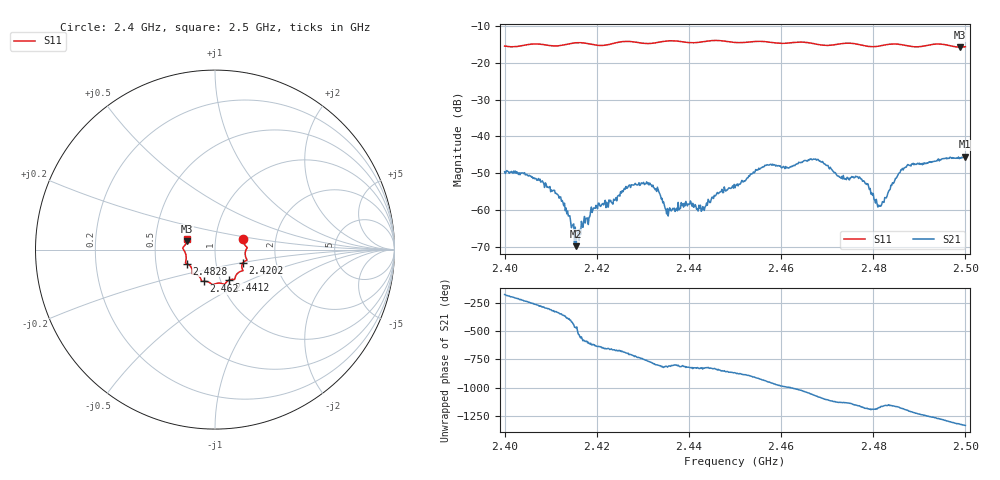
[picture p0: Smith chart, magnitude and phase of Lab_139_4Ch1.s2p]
# Hz S RI R
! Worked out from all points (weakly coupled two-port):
!   601 points, 2.4 GHz to 2.5 GHz, reference 50 ohm
!   highest |S21| = -45.55 dB at 2.4998 GHz (marker M1); lowest = -69.9 dB at 2.4155 GHz (marker M2)
!   lowest |S11| = -15.8 dB at 2.4988 GHz (marker M3), VSWR 1.39, Z = 36.4 + j3.41 ohm
!   |S11| at or under -10 dB: start of sweep to end of sweep
!   S12 and S22 are empty: the file has one direction only
!   S11 on the Smith chart (normalised r, x): 2.4 GHz: 1.36, +0.17; 2.4202 GHz: 1.35, -0.20; 2.4412 GHz: 1.09, -0.39; 2.462 GHz: 0.83, -0.30; 2.4828 GHz: 0.72, -0.12; 2.5 GHz: 0.73, +0.09
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2.4e9  0.1572 0.0607  -0.00329 -9.27e-05  0 0  0 0
2.411167e9  0.1682 -0.02  0.00143 0.00089  0 0  0 0
2.4155e9  0.1782 -0.057  -0.000128 -0.000294  0 0  0 0
2.416667e9  0.1775 -0.0593  -0.000683 0.000143  0 0  0 0
2.420167e9  0.1568 -0.072  0.000141 0.00103  0 0  0 0
2.428e9  0.1514 -0.1183  0.00217 3.83e-05  0 0  0 0
2.433333e9  0.1129 -0.152  0.000246 -0.00187  0 0  0 0
2.435333e9  0.1106 -0.1644  -0.000169 -0.00103  0 0  0 0
2.441167e9  0.0756 -0.1714  -0.000277 -0.00106  0 0  0 0
2.443167e9  0.0606 -0.1841  -0.000311 -0.00103  0 0  0 0
2.45e9  0.0272 -0.1867  -0.00171 -0.00103  0 0  0 0
2.456833e9  -0.0182 -0.1919  -0.00294 0.00281  0 0  0 0
2.462e9  -0.0613 -0.1761  0.000552 0.00383  0 0  0 0
2.466667e9  -0.0774 -0.1673  0.00447 0.00177  0 0  0 0
2.477e9  -0.1259 -0.1236  0.000506 -0.00276  0 0  0 0
2.481333e9  -0.1465 -0.084  -8.42e-05 -0.00112  0 0  0 0
2.482833e9  -0.1578 -0.0778  0.000334 -0.00141  0 0  0 0
2.483333e9  -0.1606 -0.0765  0.000576 -0.00169  0 0  0 0
2.487167e9  -0.1613 -0.0579  -0.00179 -0.00336  0 0  0 0
2.498833e9  -0.1563 0.0457  -0.00224 0.00458  0 0  0 0
2.499833e9  -0.1534 0.0596  -0.00152 0.00505  0 0  0 0
2.5e9  -0.1533 0.0618  -0.00145 0.00497  0 0  0 0
